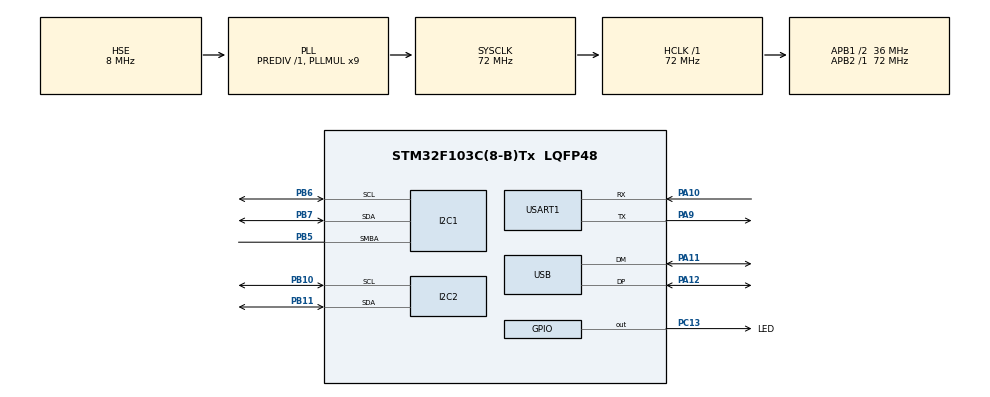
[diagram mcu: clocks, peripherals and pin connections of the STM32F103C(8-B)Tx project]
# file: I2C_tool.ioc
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Mcu.Family=STM32F1
Mcu.Name=STM32F103C(8-B)Tx
Mcu.Package=LQFP48
NVIC.PriorityGroup=NVIC_PRIORITYGROUP_4
NVIC.TIM1_UP_IRQn=true\:0\:0\:false\:false\:true\:true\:true\:true
NVIC.USART1_IRQn=true\:0\:0\:false\:false\:true\:true\:true\:true
NVIC.USB_HP_CAN1_TX_IRQn=true\:0\:0\:false\:false\:true\:true\:true\:true
NVIC.USB_LP_CAN1_RX0_IRQn=true\:0\:0\:false\:false\:true\:false\:true\:true
PA10.Mode=Asynchronous
PA10.Signal=USART1_RX
PA11.Mode=Device
PA11.Signal=USB_DM
PA12.Mode=Device
PA12.Signal=USB_DP
PA13.Mode=Trace_Asynchronous_SW
PA13.Signal=SYS_JTMS-SWDIO
PA14.Mode=Trace_Asynchronous_SW
PA14.Signal=SYS_JTCK-SWCLK
PA9.Mode=Asynchronous
PA9.Signal=USART1_TX
PB10.Mode=I2C
PB10.Signal=I2C2_SCL
PB11.Mode=I2C
PB11.Signal=I2C2_SDA
PB3.Mode=Trace_Asynchronous_SW
PB3.Signal=SYS_JTDO-TRACESWO
PB5.Mode=SMBus-Alert-mode
PB5.Signal=I2C1_SMBA
PB6.Mode=SMBus-Alert-mode
PB6.Signal=I2C1_SCL
PB7.Mode=SMBus-Alert-mode
PB7.Signal=I2C1_SDA
PC13-TAMPER-RTC.GPIO_Label=LED
PC13-TAMPER-RTC.Signal=GPIO_Output
PC14-OSC32_IN.Mode=LSE-External-Oscillator
PC14-OSC32_IN.Signal=RCC_OSC32_IN
PC15-OSC32_OUT.Mode=LSE-External-Oscillator
PC15-OSC32_OUT.Signal=RCC_OSC32_OUT
PD0-OSC_IN.Mode=HSE-External-Oscillator
PD0-OSC_IN.Signal=RCC_OSC_IN
PD1-OSC_OUT.Mode=HSE-External-Oscillator
PD1-OSC_OUT.Signal=RCC_OSC_OUT
ProjectManager.HeapSize=0x400
ProjectManager.StackSize=0x400
ProjectManager.TargetToolchain=MDK-ARM V5.27
RCC.AHBFreq_Value=72000000
RCC.APB1CLKDivider=RCC_HCLK_DIV2
RCC.APB1Freq_Value=36000000
RCC.APB1TimFreq_Value=72000000
RCC.APB2Freq_Value=72000000
RCC.APB2TimFreq_Value=72000000
RCC.HCLKFreq_Value=72000000
RCC.PLLMUL=RCC_PLL_MUL9
RCC.SYSCLKFreq_VALUE=72000000
RCC.SYSCLKSource=RCC_SYSCLKSOURCE_PLLCLK
RCC.USBFreq_Value=48000000
RCC.USBPrescaler=RCC_USBCLKSOURCE_PLL_DIV1_5
TIM1.ClockDivision=TIM_CLOCKDIVISION_DIV4
USART1.VirtualMode=VM_ASYNC
USB_DEVICE.APP_RX_DATA_SIZE=64
USB_DEVICE.APP_TX_DATA_SIZE=64
USB_DEVICE.CLASS_NAME_FS=CDC
USB_DEVICE.MANUFACTURER_STRING=SAD
USB_DEVICE.PID_CDC_FS=4805
USB_DEVICE.PRODUCT_STRING_CDC_FS=I2C Scanner
USB_DEVICE.USBD_MAX_STR_DESC_SIZ=256
USB_DEVICE.VID=1156
USB_DEVICE.VirtualMode=Cdc
USB_DEVICE.VirtualModeFS=Cdc_FS
VP_TIM1_VS_ClockSourceINT.Mode=Internal
VP_USB_DEVICE_VS_USB_DEVICE_CDC_FS.Mode=CDC_FS
board=custom

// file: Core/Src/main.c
/* USER CODE BEGIN Header */
/**
  ******************************************************************************
  * @file           : main.c
  * @brief          : Main program body
  ******************************************************************************
  * @attention
  *
  * Copyright (c) 2022 STMicroelectronics.
  * All rights reserved.
  *
  * This software is licensed under terms that can be found in the LICENSE file
  * in the root directory of this software component.
  * If no LICENSE file comes with this software, it is provided AS-IS.
  *
  ******************************************************************************
  */
/* USER CODE END Header */
#include "main.h"
#include "usb_device.h"

/* USER CODE BEGIN Includes */
#include "usbd_cdc_if.h"
#include "usart.h"
/* USER CODE END Includes */

I2C_HandleTypeDef hi2c2;

TIM_HandleTypeDef htim1;

UART_HandleTypeDef huart1;

/* USER CODE BEGIN PV */

/* USER CODE BEGIN Header */
/**
  ******************************************************************************
  * @file           : main.c
  * @brief          : Main program body
  ******************************************************************************
  * This notice applies to any and all portions of this file
  * that are not between comment pairs USER CODE BEGIN and
  * USER CODE END. Other portions of this file, whether
  * inserted by the user or by software development tools
  * are owned by their respective copyright owners.
  *
  * Copyright (c) 2019 STMicroelectronics International N.V.
  * All rights reserved.
  *
  * Redistribution and use in source and binary forms, with or without
  * modification, are permitted, provided that the following conditions are met:
  *
  * 1. Redistribution of source code must retain the above copyright notice,
  *    this list of conditions and the following disclaimer.
  * 2. Redistributions in binary form must reproduce the above copyright notice,
  *    this list of conditions and the following disclaimer in the documentation
  *    and/or other materials provided with the distribution.
  * 3. Neither the name of STMicroelectronics nor the names of other
  *    contributors to this software may be used to endorse or promote products
  *    derived from this software without specific written permission.
  * 4. This software, including modifications and/or derivative works of this
  *    software, must execute solely and exclusively on microcontroller or
  *    microprocessor devices manufactured by or for STMicroelectronics.
  * 5. Redistribution and use of this software other than as permitted under
  *    this license is void and will automatically terminate your rights under
  *    this license.
  *
  * THIS SOFTWARE IS PROVIDED BY STMICROELECTRONICS AND CONTRIBUTORS "AS IS"
  * AND ANY EXPRESS, IMPLIED OR STATUTORY WARRANTIES, INCLUDING, BUT NOT
  * LIMITED TO, THE IMPLIED WARRANTIES OF MERCHANTABILITY, FITNESS FOR A
  * PARTICULAR PURPOSE AND NON-INFRINGEMENT OF THIRD PARTY INTELLECTUAL PROPERTY
  * RIGHTS ARE DISCLAIMED TO THE FULLEST EXTENT PERMITTED BY LAW. IN NO EVENT
  * SHALL STMICROELECTRONICS OR CONTRIBUTORS BE LIABLE FOR ANY DIRECT, INDIRECT,
  * INCIDENTAL, SPECIAL, EXEMPLARY, OR CONSEQUENTIAL DAMAGES (INCLUDING, BUT NOT
  * LIMITED TO, PROCUREMENT OF SUBSTITUTE GOODS OR SERVICES; LOSS OF USE, DATA,
  * OR PROFITS; OR BUSINESS INTERRUPTION) HOWEVER CAUSED AND ON ANY THEORY OF
  * LIABILITY, WHETHER IN CONTRACT, STRICT LIABILITY, OR TORT (INCLUDING
  * NEGLIGENCE OR OTHERWISE) ARISING IN ANY WAY OUT OF THE USE OF THIS SOFTWARE,
  * EVEN IF ADVISED OF THE POSSIBILITY OF SUCH DAMAGE.
  *
  ******************************************************************************
  */
/* USER CODE END Header */

/* Includes ------------------------------------------------------------------*/
#include "main.h"
#include "usb_device.h"

/* Private includes ----------------------------------------------------------*/
/* USER CODE BEGIN Includes */
#include "usbd_cdc_if.h"
#include "uart_cmd_parser.h"
#include "i2c_tools.h"
/* USER CODE END Includes */

/* Private typedef -----------------------------------------------------------*/
/* USER CODE BEGIN PTD */

/* USER CODE END PTD */

/* Private define ------------------------------------------------------------*/
/* USER CODE BEGIN PD */

/* USER CODE END PD */

/* Private macro -------------------------------------------------------------*/
/* USER CODE BEGIN PM */

/* USER CODE END PM */

/* Private variables ---------------------------------------------------------*/

/* USER CODE BEGIN PV */
extern USBD_HandleTypeDef hUsbDeviceFS;
I2C_HandleTypeDef hi2c2;

TIM_HandleTypeDef htim1;

UART_HandleTypeDef huart1;
/* USER CODE END PV */

void SystemClock_Config(void);
static void MX_GPIO_Init(void);
static void MX_I2C1_SMBUS_Init(void);
static void MX_I2C2_Init(void);
static void MX_USART1_UART_Init(void);
static void MX_TIM1_Init(void);
/* USER CODE BEGIN PFP */
void USB_Reset(void);
/* USER CODE END PFP */

/* USER CODE BEGIN 0 */
//void CDC_ReceiveCallBack(uint8_t* Buf, uint32_t Len){
//	if(hUsbDeviceFS.dev_state == USBD_STATE_CONFIGURED) CDC_Transmit_FS(Buf, Len);
//}
/* USER CODE END 0 */

int main(void)
{

  /* MCU Configuration--------------------------------------------------------*/

  /* Reset of all peripherals, Initializes the Flash interface and the Systick. */
  HAL_Init();

  /* Configure the system clock */
  SystemClock_Config();

  /* Initialize all configured peripherals */
  MX_GPIO_Init();
  MX_I2C1_SMBUS_Init();
  MX_I2C2_Init();
  MX_USART1_UART_Init();
  MX_USB_DEVICE_Init();
  MX_TIM1_Init();
  /* USER CODE BEGIN 2 */
	//uint8_t testDataToSend[8] = "FUCK\r\n";

  /* USER CODE END 2 */

  /* Infinite loop */
  /* USER CODE BEGIN WHILE */
	// after cube generation add USB_Reset() to MX_GPIO_Init(void) (after ...CLK_ENABLE(); )
	//HAL_Delay(500);
	MX_USB_DEVICE_Init();
	//HAL_Delay(500);

	HAL_Delay(1000);
	putsUSART(">");
  while (1){
		uint8_t send_data[64];
		if (vcp_rx_flag) {
			vcp_rx_flag = 0;
			if(soft_ctrl_mode){
				memset(send_data,0,64);
				//GET scm
				if(vcp_rx_buf[0]=='s'){
					if (strncmp(vcp_rx_buf, "scm", 3) == 0){
						strcpy((char*)send_data, "scm!\r\n");
					}
					CDC_Transmit_FS(send_data, strlen((char*)send_data));
				}
				// SET I2C address
				if(vcp_rx_buf[0]==1){
					send_data[0]=(uint8_t)I2C_set_addr(vcp_rx_buf[1]);
					CDC_Transmit_FS(send_data, 1);
				}
				//I2C Scan
				if(vcp_rx_buf[0]==2){

					CDC_Transmit_FS(send_data, I2C_Scan(send_data));
				}
				//SET Memory addr size
				if(vcp_rx_buf[0]==3){
					I2C_set_memadd_size(vcp_rx_buf[1]);

				}
				//GET Memory addr size
				if(vcp_rx_buf[0]==4){
					send_data[0]=I2C_get_memadd_size();
					CDC_Transmit_FS(send_data, 1);
				}

				//Get I2C state
				if(vcp_rx_buf[0]==5){
					send_data[0]=HAL_I2C_GetState(I2C_PORT);
					CDC_Transmit_FS(send_data, 1);
				}

//				//I2C read byte
//				if(vcp_rx_buf[0]==4){
//					send_data[0] = I2C_read_nbyte((uint8_t*)&send_data[1]);
//					CDC_Transmit_FS(send_data, 2);
//				}
//				//I2C write byte
//				if(vcp_rx_buf[0]==5){
//					send_data[0] = I2C_write_nbyte(vcp_rx_buf[1]);
//					CDC_Transmit_FS(send_data, 1);
//				}

				//I2C read n-byte
				if(vcp_rx_buf[0]==6){
					send_data[0]=I2C_read_nbyte (vcp_rx_buf[1], &send_data[1]);
					CDC_Transmit_FS(send_data,(uint16_t)vcp_rx_buf[1]+1);
				}
				//I2C write n-byte
				if(vcp_rx_buf[0]==7){
					send_data[0]=I2C_write_nbyte (vcp_rx_buf[1],(uint8_t*)&vcp_rx_buf[2]);
					CDC_Transmit_FS(send_data, 1);
				}

				//I2C read memory
				if(vcp_rx_buf[0]==8){
					send_data[0]=I2C_read_eeprom (((uint16_t)vcp_rx_buf[1]<<8)+(uint16_t)vcp_rx_buf[2], (uint16_t)vcp_rx_buf[3], (unsigned char*)&send_data[1]);
					CDC_Transmit_FS(send_data, ((uint16_t)vcp_rx_buf[3])+1);
				}
				//I2C write memory
				if(vcp_rx_buf[0]==9){
					send_data[0]=I2C_write_eeprom (((uint16_t)vcp_rx_buf[1]<<8)+(uint16_t)vcp_rx_buf[2], (uint16_t)vcp_rx_buf[3], (unsigned char*)&vcp_rx_buf[4]);
					CDC_Transmit_FS(send_data, 1);
				}

				memset(vcp_rx_buf,0,64);

			}else{
				parseCommand(vcp_rx_buf);

					//CDC_Transmit_FS(testDataToSend, 8);

			}
		}
		HAL_GPIO_TogglePin(LED_GPIO_Port, LED_Pin);
		HAL_Delay(100);
    //CDC_Transmit_FS(testDataToSend, 8);
    /* USER CODE END WHILE */

  }
}

void SystemClock_Config(void)
{
  RCC_OscInitTypeDef RCC_OscInitStruct = {0};
  RCC_ClkInitTypeDef RCC_ClkInitStruct = {0};
  RCC_PeriphCLKInitTypeDef PeriphClkInit = {0};

  /** Initializes the RCC Oscillators according to the specified parameters
  * in the RCC_OscInitTypeDef structure.
  */
  RCC_OscInitStruct.OscillatorType = RCC_OSCILLATORTYPE_HSE;
  RCC_OscInitStruct.HSEState = RCC_HSE_ON;
  RCC_OscInitStruct.HSEPredivValue = RCC_HSE_PREDIV_DIV1;
  RCC_OscInitStruct.HSIState = RCC_HSI_ON;
  RCC_OscInitStruct.PLL.PLLState = RCC_PLL_ON;
  RCC_OscInitStruct.PLL.PLLSource = RCC_PLLSOURCE_HSE;
  RCC_OscInitStruct.PLL.PLLMUL = RCC_PLL_MUL9;
  if (HAL_RCC_OscConfig(&RCC_OscInitStruct) != HAL_OK)
  {
    Error_Handler();
  }

  /** Initializes the CPU, AHB and APB buses clocks
  */
  RCC_ClkInitStruct.ClockType = RCC_CLOCKTYPE_HCLK|RCC_CLOCKTYPE_SYSCLK
                              |RCC_CLOCKTYPE_PCLK1|RCC_CLOCKTYPE_PCLK2;
  RCC_ClkInitStruct.SYSCLKSource = RCC_SYSCLKSOURCE_PLLCLK;
  RCC_ClkInitStruct.AHBCLKDivider = RCC_SYSCLK_DIV1;
  RCC_ClkInitStruct.APB1CLKDivider = RCC_HCLK_DIV2;
  RCC_ClkInitStruct.APB2CLKDivider = RCC_HCLK_DIV1;

  if (HAL_RCC_ClockConfig(&RCC_ClkInitStruct, FLASH_LATENCY_2) != HAL_OK)
  {
    Error_Handler();
  }
  PeriphClkInit.PeriphClockSelection = RCC_PERIPHCLK_USB;
  PeriphClkInit.UsbClockSelection = RCC_USBCLKSOURCE_PLL_DIV1_5;
  if (HAL_RCCEx_PeriphCLKConfig(&PeriphClkInit) != HAL_OK)
  {
    Error_Handler();
  }
}

static void MX_I2C1_SMBUS_Init(void)
{

}

static void MX_I2C2_Init(void)
{

  hi2c2.Instance = I2C2;
  hi2c2.Init.ClockSpeed = 100000;
  hi2c2.Init.DutyCycle = I2C_DUTYCYCLE_2;
  hi2c2.Init.OwnAddress1 = 0;
  hi2c2.Init.AddressingMode = I2C_ADDRESSINGMODE_7BIT;
  hi2c2.Init.DualAddressMode = I2C_DUALADDRESS_DISABLE;
  hi2c2.Init.OwnAddress2 = 0;
  hi2c2.Init.GeneralCallMode = I2C_GENERALCALL_DISABLE;
  hi2c2.Init.NoStretchMode = I2C_NOSTRETCH_DISABLE;
  if (HAL_I2C_Init(&hi2c2) != HAL_OK)
  {
    Error_Handler();
  }

}

static void MX_TIM1_Init(void)
{

  TIM_ClockConfigTypeDef sClockSourceConfig = {0};
  TIM_MasterConfigTypeDef sMasterConfig = {0};

  htim1.Instance = TIM1;
  htim1.Init.Prescaler = 0;
  htim1.Init.CounterMode = TIM_COUNTERMODE_UP;
  htim1.Init.Period = 65535;
  htim1.Init.ClockDivision = TIM_CLOCKDIVISION_DIV4;
  htim1.Init.RepetitionCounter = 0;
  htim1.Init.AutoReloadPreload = TIM_AUTORELOAD_PRELOAD_DISABLE;
  if (HAL_TIM_Base_Init(&htim1) != HAL_OK)
  {
    Error_Handler();
  }
  sClockSourceConfig.ClockSource = TIM_CLOCKSOURCE_INTERNAL;
  if (HAL_TIM_ConfigClockSource(&htim1, &sClockSourceConfig) != HAL_OK)
  {
    Error_Handler();
  }
  sMasterConfig.MasterOutputTrigger = TIM_TRGO_RESET;
  sMasterConfig.MasterSlaveMode = TIM_MASTERSLAVEMODE_DISABLE;
  if (HAL_TIMEx_MasterConfigSynchronization(&htim1, &sMasterConfig) != HAL_OK)
  {
    Error_Handler();
  }

}

static void MX_USART1_UART_Init(void)
{

  huart1.Instance = USART1;
  huart1.Init.BaudRate = 115200;
  huart1.Init.WordLength = UART_WORDLENGTH_8B;
  huart1.Init.StopBits = UART_STOPBITS_1;
  huart1.Init.Parity = UART_PARITY_NONE;
  huart1.Init.Mode = UART_MODE_TX_RX;
  huart1.Init.HwFlowCtl = UART_HWCONTROL_NONE;
  huart1.Init.OverSampling = UART_OVERSAMPLING_16;
  if (HAL_UART_Init(&huart1) != HAL_OK)
  {
    Error_Handler();
  }

}

static void MX_GPIO_Init(void)
{
  GPIO_InitTypeDef GPIO_InitStruct = {0};

  /* GPIO Ports Clock Enable */
  __HAL_RCC_GPIOC_CLK_ENABLE();
  __HAL_RCC_GPIOD_CLK_ENABLE();
  __HAL_RCC_GPIOB_CLK_ENABLE();
  __HAL_RCC_GPIOA_CLK_ENABLE();

  /*Configure GPIO pin Output Level */
  HAL_GPIO_WritePin(LED_GPIO_Port, LED_Pin, GPIO_PIN_RESET);

  /*Configure GPIO pin : LED_Pin */
  GPIO_InitStruct.Pin = LED_Pin;
  GPIO_InitStruct.Mode = GPIO_MODE_OUTPUT_PP;
  GPIO_InitStruct.Pull = GPIO_NOPULL;
  GPIO_InitStruct.Speed = GPIO_SPEED_FREQ_LOW;
  HAL_GPIO_Init(LED_GPIO_Port, &GPIO_InitStruct);

}

/* USER CODE BEGIN 4 */
void USB_Reset(void)
{

	 GPIO_InitTypeDef GPIO_InitStruct = {0};

	 GPIO_InitStruct.Pin = GPIO_PIN_12;
	 GPIO_InitStruct.Mode = GPIO_MODE_OUTPUT_PP;
	 GPIO_InitStruct.Speed = GPIO_SPEED_FREQ_LOW;
	 HAL_GPIO_Init(GPIOA, &GPIO_InitStruct);
	 HAL_GPIO_WritePin(GPIOA, GPIO_PIN_12, GPIO_PIN_RESET);
	 for(uint16_t i = 0; i < 4000; i++) {};

	 GPIO_InitStruct.Mode = GPIO_MODE_INPUT;
	 GPIO_InitStruct.Pull = GPIO_NOPULL;
	 HAL_GPIO_Init(GPIOA, &GPIO_InitStruct);
	 for(uint16_t i = 0; i < 4000; i++) {};
}
/* USER CODE END 4 */

void Error_Handler(void)
{
  __disable_irq();
  while (1)
  {
  }
}
